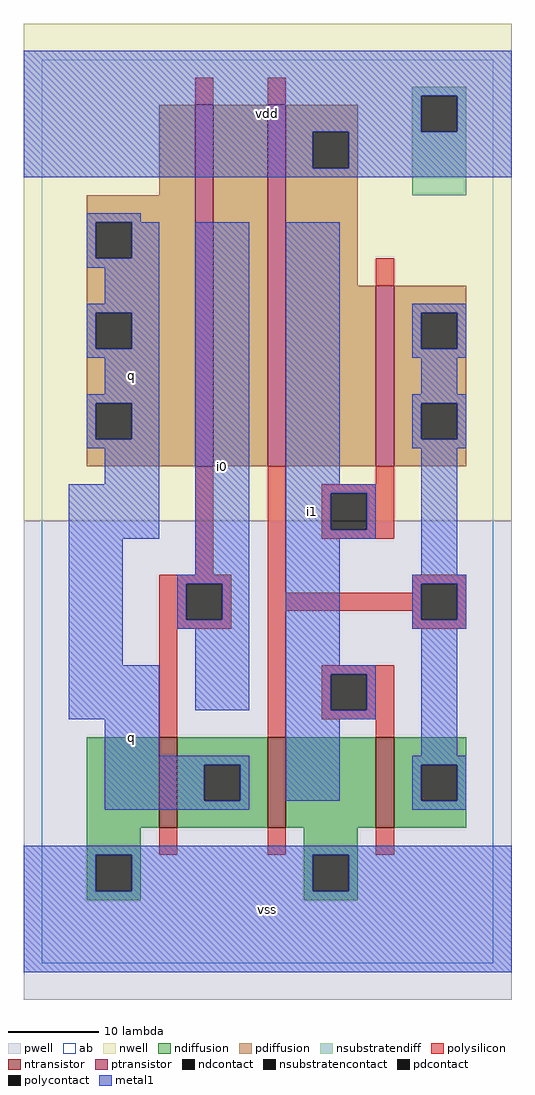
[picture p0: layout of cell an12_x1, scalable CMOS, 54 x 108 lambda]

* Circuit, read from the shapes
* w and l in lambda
.subckt an12_x1 i0 i1 q vdd vss
M1 q i0 vss VSUBS nfet w=10 l=2
M2 vss n1 q VSUBS nfet w=10 l=2
M3 n1 i1 vss VSUBS nfet w=10 l=2
M4 n2 i0 q vdd pfet w=40 l=2
M5 vdd n1 n2 vdd pfet w=40 l=2
M6 n1 i1 vdd vdd pfet w=20 l=2
.ends

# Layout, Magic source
magic
tech scmos
<< ab >>
rect 0 0 50 100
<< pwell >>
rect -2 -4 52 49
<< nwell >>
rect -2 49 52 104
<< polysilicon >>
rect 17 95 19 98
rect 25 95 27 98
rect 37 75 39 78
rect 17 43 19 55
rect 13 42 21 43
rect 13 38 16 42
rect 20 38 21 42
rect 13 37 21 38
rect 25 41 27 55
rect 37 53 39 55
rect 31 52 39 53
rect 31 48 32 52
rect 36 48 39 52
rect 31 47 39 48
rect 41 42 47 43
rect 41 41 42 42
rect 25 39 42 41
rect 13 25 15 37
rect 25 25 27 39
rect 41 38 42 39
rect 46 38 47 42
rect 41 37 47 38
rect 31 32 39 33
rect 31 28 32 32
rect 36 28 39 32
rect 31 27 39 28
rect 37 25 39 27
rect 13 12 15 15
rect 25 12 27 15
rect 37 12 39 15
<< ndiffusion >>
rect 5 15 13 25
rect 15 22 25 25
rect 15 18 18 22
rect 22 18 25 22
rect 15 15 25 18
rect 27 15 37 25
rect 39 22 47 25
rect 39 18 42 22
rect 46 18 47 22
rect 39 15 47 18
rect 5 12 11 15
rect 29 12 35 15
rect 5 8 6 12
rect 10 8 11 12
rect 5 7 11 8
rect 29 8 30 12
rect 34 8 35 12
rect 29 7 35 8
<< pdiffusion >>
rect 13 85 17 95
rect 5 82 17 85
rect 5 78 6 82
rect 10 78 17 82
rect 5 72 17 78
rect 5 68 6 72
rect 10 68 17 72
rect 5 62 17 68
rect 5 58 6 62
rect 10 58 17 62
rect 5 55 17 58
rect 19 55 25 95
rect 27 92 35 95
rect 27 88 30 92
rect 34 88 35 92
rect 27 75 35 88
rect 27 55 37 75
rect 39 72 47 75
rect 39 68 42 72
rect 46 68 47 72
rect 39 62 47 68
rect 39 58 42 62
rect 46 58 47 62
rect 39 55 47 58
<< metal1 >>
rect -2 96 52 101
rect -2 92 42 96
rect 46 92 52 96
rect -2 88 30 92
rect 34 88 52 92
rect -2 87 52 88
rect 5 82 11 83
rect 5 78 6 82
rect 10 78 13 82
rect 5 77 13 78
rect 7 73 13 77
rect 5 72 13 73
rect 5 68 6 72
rect 10 68 13 72
rect 5 67 13 68
rect 7 63 13 67
rect 5 62 13 63
rect 5 58 6 62
rect 10 58 13 62
rect 5 57 13 58
rect 7 53 13 57
rect 3 47 13 53
rect 3 33 9 47
rect 17 43 23 82
rect 15 42 23 43
rect 15 38 16 42
rect 20 38 23 42
rect 15 37 23 38
rect 3 27 13 33
rect 17 28 23 37
rect 27 53 33 82
rect 41 72 47 73
rect 41 68 42 72
rect 46 68 47 72
rect 41 67 47 68
rect 42 63 46 67
rect 41 62 47 63
rect 41 58 42 62
rect 46 58 47 62
rect 41 57 47 58
rect 27 52 37 53
rect 27 48 32 52
rect 36 48 37 52
rect 27 47 37 48
rect 27 33 33 47
rect 42 43 46 57
rect 41 42 47 43
rect 41 38 42 42
rect 46 38 47 42
rect 41 37 47 38
rect 27 32 37 33
rect 27 28 32 32
rect 36 28 37 32
rect 7 23 13 27
rect 27 27 37 28
rect 7 22 23 23
rect 7 18 18 22
rect 22 18 23 22
rect 27 18 33 27
rect 42 23 46 37
rect 41 22 47 23
rect 41 18 42 22
rect 46 18 47 22
rect 7 17 23 18
rect 41 17 47 18
rect -2 12 52 13
rect -2 8 6 12
rect 10 8 30 12
rect 34 8 52 12
rect -2 -1 52 8
<< ntransistor >>
rect 13 15 15 25
rect 25 15 27 25
rect 37 15 39 25
<< ptransistor >>
rect 17 55 19 95
rect 25 55 27 95
rect 37 55 39 75
<< polycontact >>
rect 16 38 20 42
rect 32 48 36 52
rect 42 38 46 42
rect 32 28 36 32
<< ndcontact >>
rect 18 18 22 22
rect 42 18 46 22
rect 6 8 10 12
rect 30 8 34 12
<< pdcontact >>
rect 6 78 10 82
rect 6 68 10 72
rect 6 58 10 62
rect 30 88 34 92
rect 42 68 46 72
rect 42 58 46 62
<< nsubstratencontact >>
rect 42 92 46 96
<< nsubstratendiff >>
rect 41 96 47 97
rect 41 92 42 96
rect 46 92 47 96
rect 41 85 47 92
<< labels >>
rlabel metal1 10 25 10 25 6 q
rlabel metal1 10 25 10 25 6 q
rlabel metal1 10 65 10 65 6 q
rlabel metal1 10 65 10 65 6 q
rlabel metal1 20 55 20 55 6 i0
rlabel metal1 20 55 20 55 6 i0
rlabel metal1 25 6 25 6 6 vss
rlabel metal1 25 6 25 6 6 vss
rlabel metal1 30 50 30 50 6 i1
rlabel metal1 30 50 30 50 6 i1
rlabel metal1 25 94 25 94 6 vdd
rlabel metal1 25 94 25 94 6 vdd
<< end >>
